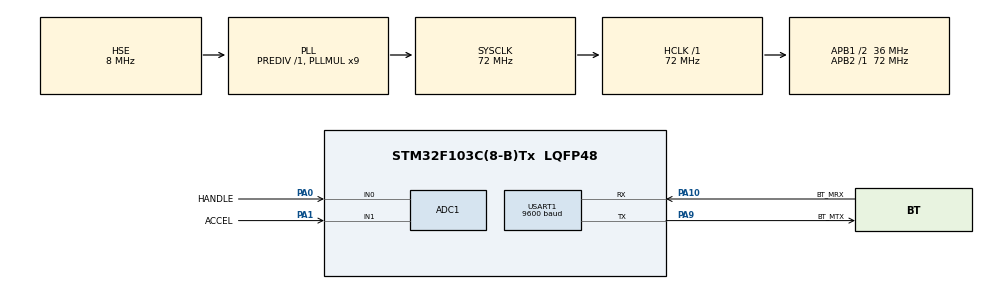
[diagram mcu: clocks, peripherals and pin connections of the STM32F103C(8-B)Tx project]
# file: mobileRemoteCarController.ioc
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ADC1.Channel-1\#ChannelRegularConversion=ADC_CHANNEL_0
ADC1.Channel-2\#ChannelRegularConversion=ADC_CHANNEL_1
ADC1.ContinuousConvMode=ENABLE
ADC1.NbrOfConversion=2
ADC1.NbrOfConversionFlag=1
ADC1.Rank-1\#ChannelRegularConversion=1
ADC1.Rank-2\#ChannelRegularConversion=2
ADC1.SamplingTime-1\#ChannelRegularConversion=ADC_SAMPLETIME_239CYCLES_5
ADC1.SamplingTime-2\#ChannelRegularConversion=ADC_SAMPLETIME_239CYCLES_5
ADC1.master=1
Dma.ADC1.0.Direction=DMA_PERIPH_TO_MEMORY
Dma.ADC1.0.Instance=DMA1_Channel1
Dma.ADC1.0.MemDataAlignment=DMA_MDATAALIGN_HALFWORD
Dma.ADC1.0.MemInc=DMA_MINC_ENABLE
Dma.ADC1.0.Mode=DMA_CIRCULAR
Dma.ADC1.0.PeriphDataAlignment=DMA_PDATAALIGN_HALFWORD
Dma.ADC1.0.PeriphInc=DMA_PINC_DISABLE
Dma.ADC1.0.Priority=DMA_PRIORITY_LOW
Dma.Request0=ADC1
Mcu.Family=STM32F1
Mcu.Name=STM32F103C(8-B)Tx
Mcu.Package=LQFP48
NVIC.DMA1_Channel1_IRQn=true\:0\:0\:false\:false\:true\:false\:true\:true
NVIC.PriorityGroup=NVIC_PRIORITYGROUP_4
PA0-WKUP.GPIO_Label=HANDLE
PA0-WKUP.Signal=ADCx_IN0
PA1.GPIO_Label=ACCEL
PA1.Signal=ADCx_IN1
PA10.GPIO_Label=BT_MRX
PA10.Mode=Asynchronous
PA10.Signal=USART1_RX
PA13.Mode=Serial_Wire
PA13.Signal=SYS_JTMS-SWDIO
PA14.Mode=Serial_Wire
PA14.Signal=SYS_JTCK-SWCLK
PA9.GPIO_Label=BT_MTX
PA9.Mode=Asynchronous
PA9.Signal=USART1_TX
PD0-OSC_IN.Mode=HSE-External-Oscillator
PD0-OSC_IN.Signal=RCC_OSC_IN
PD1-OSC_OUT.Mode=HSE-External-Oscillator
PD1-OSC_OUT.Signal=RCC_OSC_OUT
ProjectManager.HeapSize=0x200
ProjectManager.StackSize=0x400
ProjectManager.TargetToolchain=STM32CubeIDE
RCC.ADCPresc=RCC_ADCPCLK2_DIV6
RCC.AHBFreq_Value=72000000
RCC.APB1CLKDivider=RCC_HCLK_DIV2
RCC.APB1Freq_Value=36000000
RCC.APB1TimFreq_Value=72000000
RCC.APB2Freq_Value=72000000
RCC.APB2TimFreq_Value=72000000
RCC.HCLKFreq_Value=72000000
RCC.PLLMUL=RCC_PLL_MUL9
RCC.PLLSourceVirtual=RCC_PLLSOURCE_HSE
RCC.SYSCLKFreq_VALUE=72000000
RCC.SYSCLKSource=RCC_SYSCLKSOURCE_PLLCLK
RCC.USBFreq_Value=72000000
SH.ADCx_IN0.0=ADC1_IN0,IN0
SH.ADCx_IN1.0=ADC1_IN1,IN1
USART1.BaudRate=9600
USART1.VirtualMode=VM_ASYNC
board=custom

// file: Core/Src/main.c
/* USER CODE BEGIN Header */
/**
  ******************************************************************************
  * @file           : main.c
  * @brief          : Main program body
  ******************************************************************************
  * @attention
  *
  * Copyright (c) 2024 STMicroelectronics.
  * All rights reserved.
  *
  * This software is licensed under terms that can be found in the LICENSE file
  * in the root directory of this software component.
  * If no LICENSE file comes with this software, it is provided AS-IS.
  *
  ******************************************************************************
  */
/* USER CODE END Header */
#include "main.h"
#include "adc.h"
#include "dma.h"
#include "usart.h"
#include "gpio.h"

/* USER CODE BEGIN PV */
volatile uint16_t MRC_ADC[2] = {0,};
uint8_t MRC_txBuffer[4] = {0,};
/* USER CODE END PV */

void SystemClock_Config(void);
/* USER CODE BEGIN PFP */
void MRC_setTxBuffer(){
	MRC_txBuffer[0] = (MRC_ADC[0] >> 0);
	MRC_txBuffer[1] = (MRC_ADC[0] >> 8);
	MRC_txBuffer[2] = (MRC_ADC[1] >> 0);
	MRC_txBuffer[3] = (MRC_ADC[1] >> 8);
};

void MRC_tx(){
	MRC_setTxBuffer();
	HAL_UART_Transmit(&huart1, MRC_txBuffer, sizeof(MRC_txBuffer), 100);
};
/* USER CODE END PFP */

int main(void)
{

  /* MCU Configuration--------------------------------------------------------*/

  /* Reset of all peripherals, Initializes the Flash interface and the Systick. */
  HAL_Init();

  /* Configure the system clock */
  SystemClock_Config();

  /* Initialize all configured peripherals */
  MX_GPIO_Init();
  MX_DMA_Init();
  MX_ADC1_Init();
  MX_USART1_UART_Init();
  /* USER CODE BEGIN 2 */
//  HAL_UART_Transmit_IT(&huart1, MRC_txBuffer, sizeof(MRC_txBuffer));
  HAL_ADC_Start_DMA(&hadc1, (uint32_t* )MRC_ADC, sizeof(MRC_ADC));

  /* USER CODE END 2 */

  /* Infinite loop */
  /* USER CODE BEGIN WHILE */
  while (1)
  {
	  MRC_tx();
	  HAL_Delay(10);
    /* USER CODE END WHILE */

  }
}

void SystemClock_Config(void)
{
  RCC_OscInitTypeDef RCC_OscInitStruct = {0};
  RCC_ClkInitTypeDef RCC_ClkInitStruct = {0};
  RCC_PeriphCLKInitTypeDef PeriphClkInit = {0};

  /** Initializes the RCC Oscillators according to the specified parameters
  * in the RCC_OscInitTypeDef structure.
  */
  RCC_OscInitStruct.OscillatorType = RCC_OSCILLATORTYPE_HSE;
  RCC_OscInitStruct.HSEState = RCC_HSE_ON;
  RCC_OscInitStruct.HSEPredivValue = RCC_HSE_PREDIV_DIV1;
  RCC_OscInitStruct.HSIState = RCC_HSI_ON;
  RCC_OscInitStruct.PLL.PLLState = RCC_PLL_ON;
  RCC_OscInitStruct.PLL.PLLSource = RCC_PLLSOURCE_HSE;
  RCC_OscInitStruct.PLL.PLLMUL = RCC_PLL_MUL9;
  if (HAL_RCC_OscConfig(&RCC_OscInitStruct) != HAL_OK)
  {
    Error_Handler();
  }

  /** Initializes the CPU, AHB and APB buses clocks
  */
  RCC_ClkInitStruct.ClockType = RCC_CLOCKTYPE_HCLK|RCC_CLOCKTYPE_SYSCLK
                              |RCC_CLOCKTYPE_PCLK1|RCC_CLOCKTYPE_PCLK2;
  RCC_ClkInitStruct.SYSCLKSource = RCC_SYSCLKSOURCE_PLLCLK;
  RCC_ClkInitStruct.AHBCLKDivider = RCC_SYSCLK_DIV1;
  RCC_ClkInitStruct.APB1CLKDivider = RCC_HCLK_DIV2;
  RCC_ClkInitStruct.APB2CLKDivider = RCC_HCLK_DIV1;

  if (HAL_RCC_ClockConfig(&RCC_ClkInitStruct, FLASH_LATENCY_2) != HAL_OK)
  {
    Error_Handler();
  }
  PeriphClkInit.PeriphClockSelection = RCC_PERIPHCLK_ADC;
  PeriphClkInit.AdcClockSelection = RCC_ADCPCLK2_DIV6;
  if (HAL_RCCEx_PeriphCLKConfig(&PeriphClkInit) != HAL_OK)
  {
    Error_Handler();
  }
}

void Error_Handler(void)
{
  __disable_irq();
  while (1)
  {
  }
}
